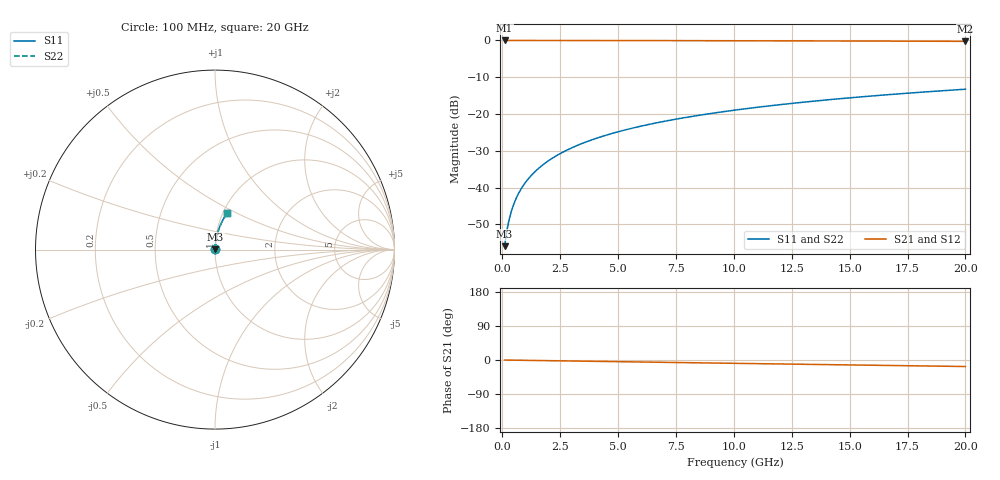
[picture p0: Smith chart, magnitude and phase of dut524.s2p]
! Touchstone file exported from HFSS 2026.1.0
!  File:  C:/ffzhzh/LocalFiles/Ansys_Project_Files/temp_train_BSMRDL_524_1783014613_51716.aedt
!  Generated:  01:51:36 AM Jul  3, 2026
!  Design:  BSMRDL
!  Project:  temp_train_BSMRDL_524_1783014613_51716
! Variables:
!  h_bsmrdl = 5.06um
!  h_ox = 20um
!  h_rdl = 5um
!  h_sub = 80um
!  h_tmrdl = 5um
!  h_tsv = 80um
!  h_via = 3um
!  l_bsmrdl = 175.34um
!  l_sub = 575.34um
!  l_tmrdl = 200um
!  m_sub = 200um
!  pitch = 54.36um
!  r_tsv = 6um
!  s_tmrdl = 10um
!  w_bsmrdl = 12.89um
!  w_sub = 500um
!  w_tmrdl = 12um
!  x_tsv_center1 = 206um
!  x_tsv_center2 = 394.23um
!  x_tsv_center3 = 606.23um
!  x_tsv_center4 = 794.46um
!  x_tsv_center5 = 1006.46um
!  x_tsv_center6 = 1194.69um
# GHz S MA R 50.000000
! Terminal data exported
! Port[1] = BSM_RDL1_1_T1
! Port[2] = BSM_RDL1_1_T2
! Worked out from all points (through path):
!   200 points, 100 MHz to 20 GHz, reference 50 ohm
!   highest |S21| = -0.01 dB at 100 MHz (marker M1); lowest = -0.3 dB at 20 GHz (marker M2)
!   group delay of S21, straight-line fit = 2.39 ps
!   lowest |S11| = -55.9 dB at 100 MHz (marker M3), VSWR 1.00, Z = 50.1 + j0.12 ohm
!   |S11| at or under -10 dB: start of sweep to end of sweep
!   |S22| runs from -55.9 to -13.3 dB; largest |S21 - S12| = 3.1e-15
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0.1  0.001598 48.4  0.9989 -0.1  0.9989 -0.1  0.001598 48.4
! Gamma 0 0 0 0
! Port Impedance 50 0 50 0
0.2  0.002617 65.4  0.9989 -0.2  0.9989 -0.2  0.002617 65.4
0.3  0.003728 72.4  0.9989 -0.3  0.9989 -0.3  0.003728 72.4
0.4  0.00486 76.1  0.9989 -0.4  0.9989 -0.4  0.00486 76.1
0.5  0.005999 78.4  0.9988 -0.5  0.9988 -0.5  0.005999 78.4
0.7  0.008285 81.1  0.9988 -0.6  0.9988 -0.6  0.008285 81.1
0.8  0.009431 81.9  0.9987 -0.7  0.9987 -0.7  0.009431 81.9
1  0.01173 83.0  0.9987 -0.9  0.9987 -0.9  0.01173 83.0
1.2  0.01403 83.7  0.9986 -1.1  0.9986 -1.1  0.01403 83.7
1.4  0.01633 84.2  0.9985 -1.3  0.9985 -1.3  0.01633 84.2
1.7  0.01978 84.5  0.9984 -1.5  0.9984 -1.5  0.01978 84.5
2  0.02323 84.7  0.9983 -1.8  0.9983 -1.8  0.02323 84.7
2.7  0.03126 84.7  0.9979 -2.4  0.9979 -2.4  0.03126 84.7
3.5  0.04038 84.4  0.9974 -3.1  0.9974 -3.1  0.04038 84.4
4.2  0.04831 84.0  0.9969 -3.7  0.9969 -3.7  0.04831 84.0
5  0.05732 83.4  0.9962 -4.4  0.9962 -4.4  0.05732 83.4
6.8  0.07738 82.0  0.9944 -6.0  0.9944 -6.0  0.07738 82.0
8.3  0.09391 80.9  0.9926 -7.3  0.9926 -7.3  0.09391 80.9
10.1  0.1135 79.5  0.9902 -8.9  0.9902 -8.9  0.1135 79.5
13.4  0.1489 76.8  0.985 -11.7  0.985 -11.7  0.1489 76.8
16.7  0.1835 74.2  0.9788 -14.5  0.9788 -14.5  0.1835 74.2
20  0.2172 71.6  0.9715 -17.2  0.9715 -17.2  0.2172 71.6
